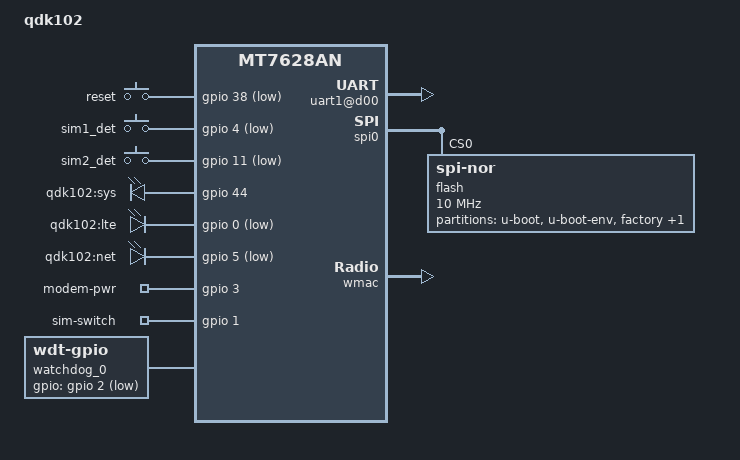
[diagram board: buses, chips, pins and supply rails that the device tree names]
#include "mt7628an.dtsi"

#include <dt-bindings/input/input.h>
#include <dt-bindings/gpio/gpio.h>

/ {
	compatible = "ikt,qdk102", "mediatek,mt7628an-soc";
	model = "qdk102";

	aliases {
		led-boot = &led_sys;
		led-failsafe = &led_sys;
		led-running = &led_sys;
		led-upgrade = &led_sys;
	};

	chosen {
		bootargs = "console=ttyS0,115200";
	};

	keys {
		compatible = "gpio-keys";

		reset {
			label = "reset";
			gpios = <&gpio 38 GPIO_ACTIVE_LOW>;
			linux,code = <KEY_RESTART>;
		};
		sim1 {
			label = "sim1_det";
			gpios = <&gpio 4 1>; //gpio4 
			linux,code = <0x100>;
		};
		sim2 {
			label = "sim2_det";
			gpios = <&gpio 11 1>; //gpio11 
			linux,code = <0x101>;
		};
	};

	leds {
		compatible = "gpio-leds";

		led_sys:sys_run {
			label = "qdk102:sys";
			gpios = <&gpio 44 0>; //gpio44
		};
		led_lte {
			label = "qdk102:lte";
			gpios = <&gpio 0 1>; //gpio0
		};
		led_net {
			label = "qdk102:net";
			gpios = <&gpio 5 1>; //gpio5
		};
	};


        gpio_export {
                compatible = "gpio-export";
                #size-cells = <0>;

                modem {
                        gpio-export,name = "modem-pwr";
                        gpio-export,output = <1>;
                        gpios = <&gpio 3 GPIO_ACTIVE_HIGH>;
                };
                
		sim-ctl {
                        gpio-export,name = "sim-switch";
                        gpio-export,output = <1>;
                        gpios = <&gpio 1 GPIO_ACTIVE_HIGH>;
                };
        };


	watchdog_0:watchdog {
		compatible = "linux,wdt-gpio";
		gpios = <&gpio 2 1>; //gpio2
		hw_algo = "toggle";
		hw_margin_ms = <1300>;
		always-running = <1>;
		status = "okay";
	};

	uart1@d00 {
		status = "okay";
	};
};

&state_default {
	gpio {
		groups = "gpio","perst","refclk","wdt","i2c","i2s","wled_an";
		function = "gpio";
	};
	p4led_an{
				ralink,group = "p4led_an";
				ralink,function = "p4led_an";
	};
	p3led_an{
				ralink,group = "p3led_an";
				ralink,function = "p3led_an";
	};
	p2led_an{
				ralink,group = "p2led_an";
				ralink,function = "p2led_an";
	};
	p1led_an{
				ralink,group = "p1led_an";
				ralink,function = "p1led_an";
	};
};

&spi0 {
	status = "okay";

	flash@0 {
		compatible = "jedec,spi-nor";
		reg = <0>;
		spi-max-frequency = <10000000>;

		partitions {
			compatible = "fixed-partitions";
			#address-cells = <1>;
			#size-cells = <1>;

			partition@0 {
				label = "u-boot";
				reg = <0x0 0x30000>;
				read-only;
			};

			partition@30000 {
				label = "u-boot-env";
				reg = <0x30000 0x10000>;
				read-only;
			};

			factory: partition@40000 {
				label = "factory";
				reg = <0x40000 0x10000>;
				// read-only;
			};

			partition@50000 {
				compatible = "denx,uimage";
				label = "firmware";
				reg = <0x50000 0xfb0000>;
			};
		};
	};
};

&wmac {
	status = "okay";
};

&ethernet {
	mtd-mac-address = <&factory 0x2e>;
};

&esw {
	mediatek,portmap = <0x2f>;
};
